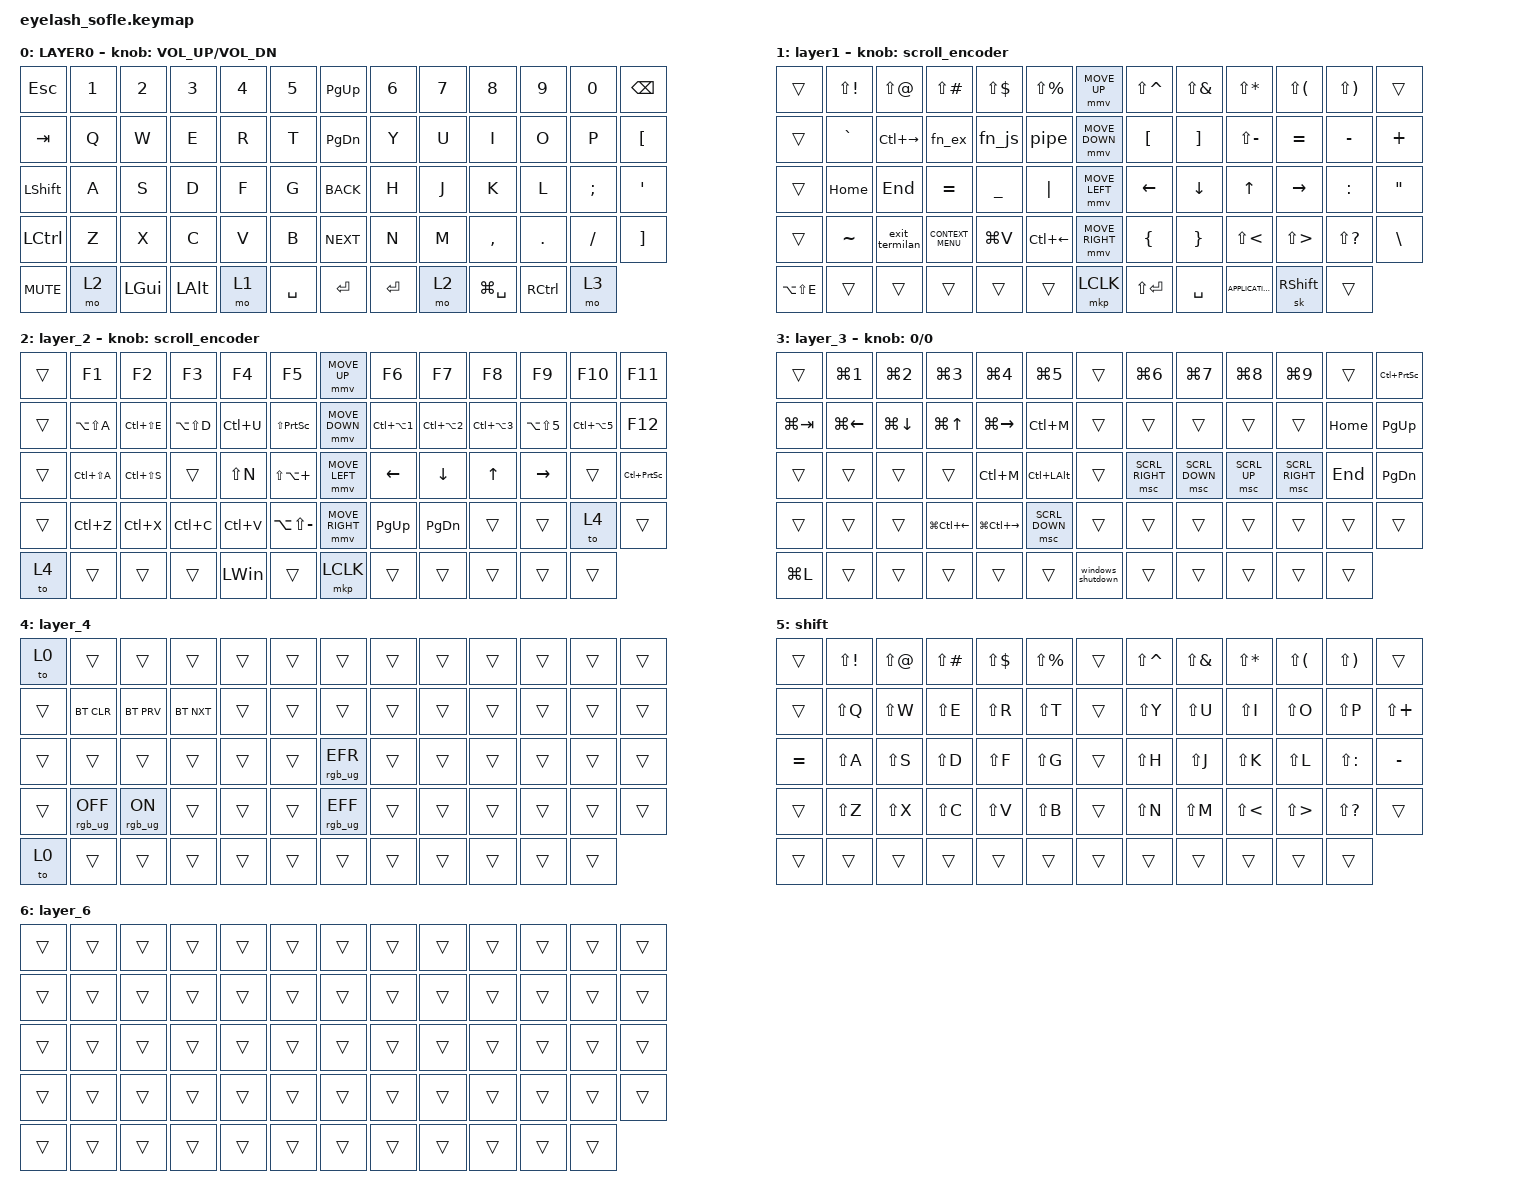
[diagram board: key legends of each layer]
#include <dt-bindings/zmk/mouse.h>
#include <input/processors.dtsi>
#include <behaviors.dtsi>
#include <dt-bindings/zmk/bt.h>
#include <dt-bindings/zmk/keys.h>
#include <dt-bindings/zmk/pointing.h>
#include <dt-bindings/zmk/rgb.h>

/*

   &mmv_input_listener {
       input-processors = <&zip_xy_scaler 2 1>;
   };

   &msc_input_listener {
       input-processors = <&zip_xy_scaler 2 1>;
   };

 */

#define ZMK_MOUSE_DEFAULT_MOVE_VAL 1200  // 600
#define ZMK_MOUSE_DEFAULT_SCRL_VAL 20    // 10

/ {
    behaviors {
        mmv {
            acceleration-exponent = <1>;      // 1
            time-to-max-speed-ms = <900>;    // 40
            delay-ms = <0>;                   // 0
        };

        msc {
            acceleration-exponent = <1>;      // 0
            time-to-max-speed-ms = <400>;      // 500
            delay-ms = <0>;                   //   10
        };
    };

    scroll_encoder: scroll_encoder {
        compatible = "zmk,behavior-sensor-rotate";
        #sensor-binding-cells = <0>;
        bindings = <&msc SCRL_DOWN>, <&msc SCRL_UP>;

        tap-ms = <30>;
    };

    macros {
        pipe: pipe {
            compatible = "zmk,behavior-macro";
            #binding-cells = <0>;
            bindings = <&kp PIPE &kp GT>;
            label = "PIPE";
        };

        map: map {
            compatible = "zmk,behavior-macro";
            #binding-cells = <0>;
            bindings = <&kp PRCNT &kp LEFT_BRACE>;
            label = "MAP";
        };

        fn_js: fn_js {
            compatible = "zmk,behavior-macro";
            #binding-cells = <0>;
            bindings = <&kp EQUAL &kp GT>;
            label = "fn_js";
        };

        fn_ex: fn_ex {
            compatible = "zmk,behavior-macro";
            #binding-cells = <0>;
            bindings = <&kp MINUS &kp GT>;
            label = "FN_EX";
        };

        alt_tab_macro: alt_tab_macro {
            compatible = "zmk,behavior-macro";
            #binding-cells = <0>;
            bindings = <&sk LEFT_ALT &kp LEFT_GUI>;
            label = "ALT_TAB_MACRO";
        };

        windows_shutdown: windows_shutdown {
            compatible = "zmk,behavior-macro";
            #binding-cells = <0>;
            bindings = <&kp LG(X) &kp U &kp U>;
            label = "WINDOWS_SHUTDOWN";
        };

        with: with {
            compatible = "zmk,behavior-macro";
            #binding-cells = <0>;
            bindings = <&kp LT &kp MINUS>;
            label = "WITH";
        };

        t_with_win: new_macro {
            compatible = "zmk,behavior-macro";
            #binding-cells = <0>;
            bindings = <&tog 2 &kp LEFT_WIN>;
            label = "NEW_MACRO";
        };

        exit_termilan: exit_termilan {
            compatible = "zmk,behavior-macro";
            #binding-cells = <0>;
            bindings = <&kp LC(NON_US_BACKSLASH) &kp LC(N)>;
            label = "EXIT_TERMILAN";
        };
    };

    keymap {
        compatible = "zmk,keymap";

        layer0 {
            bindings = <
&kp ESC         &kp N1  &kp N2        &kp N3        &kp N4  &kp N5       &kp PAGE_UP    &kp N6     &kp N7  &kp N8         &kp N9     &kp N0    &kp BACKSPACE
&kp TAB         &kp Q   &kp W         &kp E         &kp R   &kp T        &kp PAGE_DOWN  &kp Y      &kp U   &kp I          &kp O      &kp P     &kp LEFT_BRACKET
&kp LEFT_SHIFT  &kp A   &kp S         &kp D         &kp F   &kp G        &kp K_BACK     &kp H      &kp J   &kp K          &kp L      &kp SEMI  &kp SQT
&kp LCTRL       &kp Z   &kp X         &kp C         &kp V   &kp B        &kp C_NEXT     &kp N      &kp M   &kp COMMA      &kp DOT    &kp FSLH  &kp RIGHT_BRACKET
&kp C_MUTE      &mo 2   &kp LEFT_GUI  &kp LEFT_ALT  &mo 1   &kp SPACE    &kp ENTER      &kp ENTER  &mo 2   &kp LG(SPACE)  &kp RCTRL  &mo 3
            >;

            sensor-bindings = <&inc_dec_kp C_VOLUME_UP C_VOL_DN>;
            display-name = "LAYER0";
        };

        layer_1 {
            display-name = "layer1";
            bindings = <
&trans         &kp LS(EXCL)  &kp LS(AT)      &kp LS(POUND)       &kp LS(DLLR)    &kp LS(PRCNT)         &mmv MOVE_UP     &kp LS(CARET)     &kp LS(AMPS)       &kp LS(STAR)       &kp LS(LPAR)     &kp LS(RPAR)      &trans
&trans         &kp GRAVE     &kp LC(RIGHT)   &fn_ex              &fn_js          &pipe                 &mmv MOVE_DOWN   &kp LEFT_BRACKET  &kp RIGHT_BRACKET  &kp LS(MINUS)      &kp EQUAL        &kp MINUS         &kp PLUS
&trans         &kp HOME      &kp END         &kp EQUAL           &kp UNDERSCORE  &kp PIPE              &mmv MOVE_LEFT   &kp LEFT_ARROW    &kp DOWN_ARROW     &kp UP_ARROW       &kp RIGHT        &kp COLON         &kp DOUBLE_QUOTES
&trans         &kp TILDE     &exit_termilan  &kp K_CONTEXT_MENU  &kp LG(V)       &kp LC(LEFT_ARROW)    &mmv MOVE_RIGHT  &kp LEFT_BRACE    &kp RIGHT_BRACE    &kp LS(LT)         &kp LS(GT)       &kp LS(QUESTION)  &kp BACKSLASH
&kp LA(LS(E))  &trans        &trans          &trans              &trans          &trans                &mkp LCLK        &kp LS(ENTER)     &kp SPACE          &kp K_APPLICATION  &sk RIGHT_SHIFT  &trans
            >;

            sensor-bindings = <&scroll_encoder>;
        };

        layer_2 {
            bindings = <
&trans  &kp F1         &kp F2         &kp F3         &kp F4        &kp F5                 &mmv MOVE_UP     &kp F6                &kp F7                &kp F8                &kp F9          &kp F10         &kp F11
&trans  &kp LA(LS(A))  &kp LC(LS(E))  &kp LA(LS(D))  &kp LC(U)     &kp LS(PRINTSCREEN)    &mmv MOVE_DOWN   &kp LC(LA(NUMBER_1))  &kp LC(LA(NUMBER_2))  &kp LC(LA(NUMBER_3))  &kp LA(LS(N5))  &kp LC(LA(N5))  &kp F12
&trans  &kp LC(LS(A))  &kp LC(LS(S))  &trans         &kp LS(N)     &kp LS(LA(PLUS))       &mmv MOVE_LEFT   &kp LEFT              &kp DOWN              &kp UP                &kp RIGHT       &trans          &kp LC(PRINTSCREEN)
&trans  &kp LC(Z)      &kp LC(X)      &kp LC(C)      &kp LC(V)     &kp LA(LS(MINUS))      &mmv MOVE_RIGHT  &kp PAGE_UP           &kp PAGE_DOWN         &trans                &trans          &to 4           &trans
&to 4   &trans         &trans         &trans         &kp LEFT_WIN  &trans                 &mkp LCLK        &trans                &trans                &trans                &trans          &trans
            >;

            sensor-bindings = <&scroll_encoder>;
        };

        layer_3 {
            bindings = <
&trans       &kp LG(N1)    &kp LG(N2)          &kp LG(N3)              &kp LG(N4)               &kp LG(N5)          &trans             &kp LG(N6)       &kp LG(N7)      &kp LG(N8)    &kp LG(N9)       &trans    &kp LC(PRINTSCREEN)
&kp LG(TAB)  &kp LG(LEFT)  &kp LG(DOWN_ARROW)  &kp LG(UP_ARROW)        &kp LG(RIGHT_ARROW)      &kp LC(M)           &trans             &trans           &trans          &trans        &trans           &kp HOME  &kp PG_UP
&trans       &trans        &trans              &trans                  &kp LC(M)                &kp LC(LEFT_ALT)    &trans             &msc SCRL_RIGHT  &msc SCRL_DOWN  &msc SCRL_UP  &msc SCRL_RIGHT  &kp END   &kp PG_DN
&trans       &trans        &trans              &kp LG(LC(LEFT_ARROW))  &kp LG(LC(RIGHT_ARROW))  &msc SCRL_DOWN      &trans             &trans           &trans          &trans        &trans           &trans    &trans
&kp LG(L)    &trans        &trans              &trans                  &trans                   &trans              &windows_shutdown  &trans           &trans          &trans        &trans           &trans
            >;

            sensor-bindings = <&inc_dec_kp 0 0>;
        };

        layer_4 {
            bindings = <
&to 0   &trans           &trans          &trans      &trans  &trans    &trans           &trans  &trans  &trans  &trans  &trans  &trans
&trans  &bt BT_CLR       &bt BT_PRV      &bt BT_NXT  &trans  &trans    &trans           &trans  &trans  &trans  &trans  &trans  &trans
&trans  &trans           &trans          &trans      &trans  &trans    &rgb_ug RGB_EFR  &trans  &trans  &trans  &trans  &trans  &trans
&trans  &rgb_ug RGB_OFF  &rgb_ug RGB_ON  &trans      &trans  &trans    &rgb_ug RGB_EFF  &trans  &trans  &trans  &trans  &trans  &trans
&to 0   &trans           &trans          &trans      &trans  &trans    &trans           &trans  &trans  &trans  &trans  &trans
            >;
        };

        shift {
            bindings = <
&trans     &kp LS(EXCL)  &kp LS(AT)  &kp LS(POUND)  &kp LS(DLLR)  &kp LS(PRCNT)    &trans  &kp LS(CARET)  &kp LS(AMPS)  &kp LS(STAR)  &kp LS(LPAR)  &kp LS(RPAR)   &trans
&trans     &kp LS(Q)     &kp LS(W)   &kp LS(E)      &kp LS(R)     &kp LS(T)        &trans  &kp LS(Y)      &kp LS(U)     &kp LS(I)     &kp LS(O)     &kp LS(P)      &kp LS(PLUS)
&kp EQUAL  &kp LS(A)     &kp LS(S)   &kp LS(D)      &kp LS(F)     &kp LS(G)        &trans  &kp LS(H)      &kp LS(J)     &kp LS(K)     &kp LS(L)     &kp LS(COLON)  &kp MINUS
&trans     &kp LS(Z)     &kp LS(X)   &kp LS(C)      &kp LS(V)     &kp LS(B)        &trans  &kp LS(N)      &kp LS(M)     &kp LS(LT)    &kp LS(GT)    &kp LS(QMARK)  &trans
&trans     &trans        &trans      &trans         &trans        &trans           &trans  &trans         &trans        &trans        &trans        &trans
            >;
        };

        layer_6 {
            bindings = <
&trans  &trans  &trans  &trans  &trans  &trans    &trans  &trans  &trans  &trans  &trans  &trans  &trans
&trans  &trans  &trans  &trans  &trans  &trans    &trans  &trans  &trans  &trans  &trans  &trans  &trans
&trans  &trans  &trans  &trans  &trans  &trans    &trans  &trans  &trans  &trans  &trans  &trans  &trans
&trans  &trans  &trans  &trans  &trans  &trans    &trans  &trans  &trans  &trans  &trans  &trans  &trans
&trans  &trans  &trans  &trans  &trans  &trans    &trans  &trans  &trans  &trans  &trans  &trans
            >;
        };
    };
};
